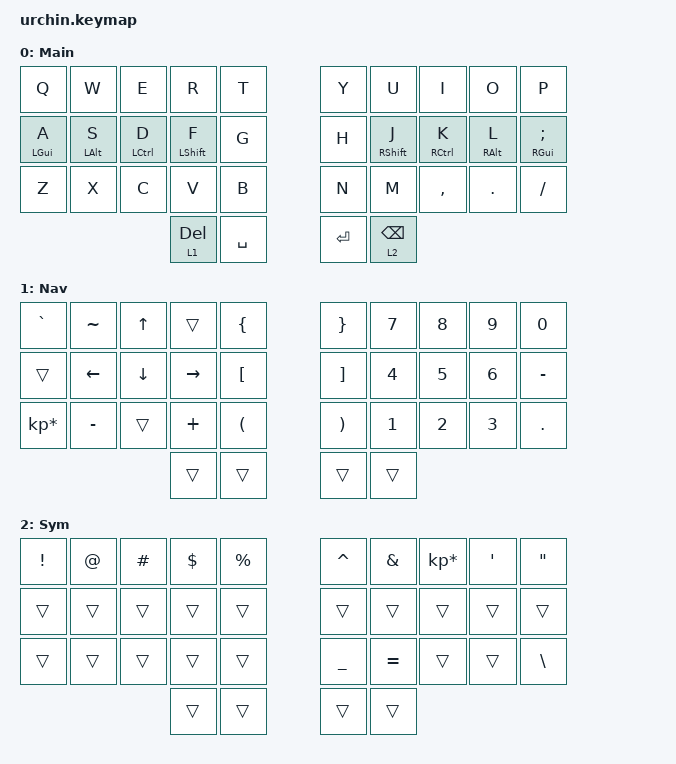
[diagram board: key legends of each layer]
//
//                                                        ▀▀▀▀▀     ▀▀▀▀▀          ▀▀█▀▀
//                                                        ▄▀▀▀▄  ▄  ▄▀▀▀▄  ▄  ▄▀▀▀▄  █  ▄▀▀▀▄
//                                                        █   █  █  █   █  █  █   █  █  █   █
//                                                         ▀▀▀   █   ▀▀▀   █   ▀▀▀   ▀   ▀▀▀
//                                                               █      ▄▄▄█▄▄▄    █   █  
//                                                               ▀      █  █  █     █▄█
//                                                             ▀▀▀▀▀    █  █  █      ▀
//                                                                      ▀  ▀  ▀
//
// ▄▄▄▄▄▄▄▄▄▄▄▄▄▄▄▄▄▄▄▄▄▄▄▄▄▄▄▄▄▄▄▄▄▄▄▄▄▄▄▄▄▄▄▄▄▄▄▄▄▄▄▄▄▄▄▄▄▄▄▄▄▄▄▄▄▄▄▄▄▄▄▄▄▄▄▄▄▄▄▄▄▄▄▄▄▄▄▄▄▄▄▄▄▄▄▄▄▄▄▄▄▄▄▄▄▄▄▄▄▄▄▄▄▄▄▄▄▄▄▄▄▄▄▄▄▄▄▄▄▄▄▄▄▄▄▄▄▄▄▄▄▄▄▄▄▄▄▄▄

#include <behaviors.dtsi>
#include <dt-bindings/zmk/keys.h>

#define Base        0
#define Nav         1
#define Sym         2
#define Fun         3
#define Game        4
#define Gameplus    5

&mt {
    quick-tap-ms = <100>;
    global-quick-tap;
    flavor = "tap-preferred";
    tapping-term-ms = <170>;
};

&lt {
    tapping-term-ms = <240>;
    flavor = "balanced";
    quick-tap-ms = <150>;
};

/ {
    behaviors {
        hm: homerow_mods {
            compatible = "zmk,behavior-hold-tap";
            label = "HOMEROW_MODS";
            #binding-cells = <2>;
            flavor = "tap-preferred";
            tapping-term-ms = <200>;
            quick-tap-ms = <125>;
            global-quick-tap;
            bindings = <&kp>, <&kp>;
        };
    };

    combos {
        compatible = "zmk,combos";

        mac_spotlight {
            bindings = <&kp LG(SPACE)>;
            key-positions = <11 12 13>;
        };

        Front {
            bindings = <&kp LC(A)>;
            key-positions = <1 0>;
        };

        End {
            bindings = <&kp LC(E)>;
            key-positions = <9 8>;
        };

        copy {
            bindings = <&kp LG(C)>;
            key-positions = <22 21>;
        };

        paste {
            bindings = <&kp LG(V)>;
            key-positions = <23 22>;
        };

        pastenoformat {
            bindings = <&kp LA(LS(LG(V)))>;
            key-positions = <23 24 22>;
        };

        escape {
            bindings = <&kp ESCAPE>;
            key-positions = <0 1 2 3>;
        };

        cut {
            bindings = <&kp LG(X)>;
            key-positions = <21 22 20>;
        };

        tab {
            bindings = <&kp TAB>;
            key-positions = <17 18 19>;
        };

        dash {
            bindings = <&kp MINUS>;
            key-positions = <18 19>;
        };
    };

    keymap {
        compatible = "zmk,keymap";

        Main {
            display-name = "Main";
            bindings = <
&kp Q       &kp W       &kp E        &kp R         &kp T      &kp Y      &kp U            &kp I        &kp O       &kp P
&hm LGUI A  &hm LALT S  &hm LCTRL D  &hm LSHIFT F  &kp G      &kp H      &hm RSHFT J      &hm RCTRL K  &hm RALT L  &hm RGUI SEMICOLON
&kp Z       &kp X       &kp C        &kp V         &kp B      &kp N      &kp M            &kp COMMA    &kp PERIOD  &kp SLASH
                                     &lt 1 DELETE  &kp SPACE  &kp ENTER  &lt 2 BACKSPACE
            >;
        };

        Nav {
            display-name = "Nav";
            bindings = <
&kp GRAVE        &kp TILDE  &kp UP_ARROW  &trans     &kp LBRC              &kp RBRC               &kp NUMBER_7  &kp NUMBER_8  &kp NUMBER_9  &kp NUMBER_0
&trans           &kp LEFT   &kp DOWN      &kp RIGHT  &kp LBKT              &kp RBKT               &kp NUMBER_4  &kp NUMBER_5  &kp NUMBER_6  &kp MINUS
&kp KP_MULTIPLY  &kp MINUS  &trans        &kp PLUS   &kp LEFT_PARENTHESIS  &kp RIGHT_PARENTHESIS  &kp NUMBER_1  &kp NUMBER_2  &kp NUMBER_3  &kp PERIOD
                                          &trans     &trans                &trans                 &trans
            >;
        };

        Sym {
            display-name = "Sym";
            bindings = <
&kp EXCL  &kp AT  &kp HASH  &kp DOLLAR  &kp PERCENT  &kp CARET  &kp AMPERSAND  &kp KP_ASTERISK  &kp SQT  &kp DQT
&trans    &trans  &trans    &trans      &trans       &trans     &trans         &trans           &trans   &trans
&trans    &trans  &trans    &trans      &trans       &kp UNDER  &kp EQUAL      &trans           &trans   &kp BACKSLASH
                            &trans      &trans       &trans     &trans
            >;
        };
    };
};
